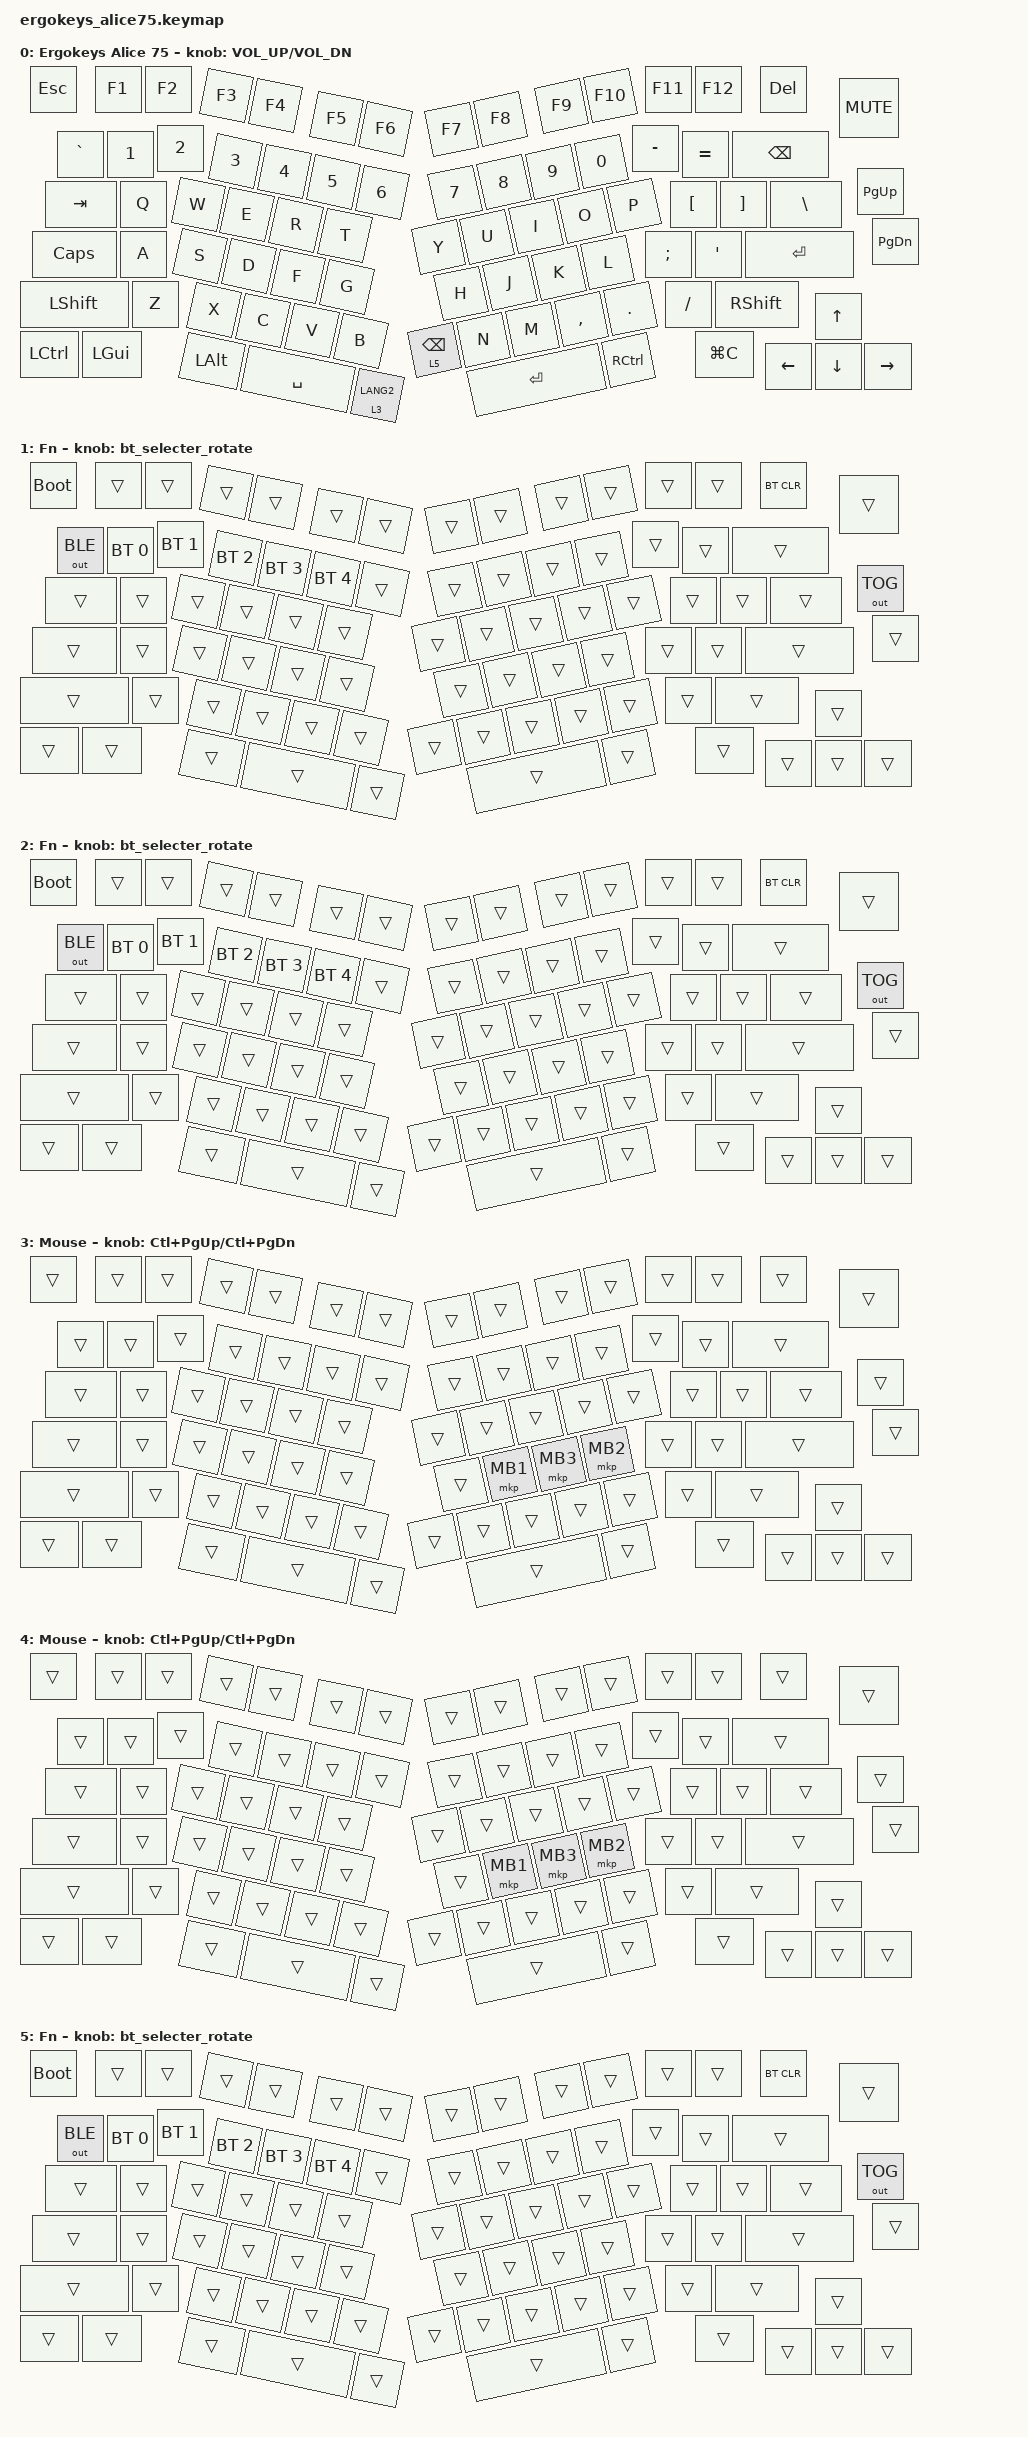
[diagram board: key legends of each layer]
/*
 * Copyright (c) 2020 The ZMK Contributors
 *
 * SPDX-License-Identifier: MIT
 */

#include <behaviors.dtsi>
#include <dt-bindings/zmk/bt.h>
#include <dt-bindings/zmk/keys.h>
#include <dt-bindings/zmk/outputs.h>
#include <dt-bindings/zmk/pointing.h>

/ {
    behaviors {
        bt_selecter_rotate: sensor_rotate_bt {
            compatible = "zmk,behavior-sensor-rotate";
            #sensor-binding-cells = <0>;
            bindings = <&bt BT_NXT>, <&bt BT_PRV>;
        };
    };

    keymap {
        compatible = "zmk,keymap";

        Alice75 {
            // --------- Default QWERTY Layout ---------
            // Layer 0 BASE
            // -------------------------------------------------------------------------------------------------
            // | ESC |  1  |  2  |  3  |  4  |  5  |  6  |  7  |  8  |  9  |  0  |  -  |  =  |    BSPC   | HME |
            // -------------------------------------------------------------------------------------------------
            // | TAB    |  Q  |  W  |  E  |  R  |  T  |  Y  |  U  |  I  |  O  |  P  |  [  |  ]   |   \   | PGU |
            // -------------------------------------------------------------------------------------------------
            // | CAPS    |  A  |  S  |  D  |  F  |  G  |  H  |  J  |  K  |  L  |  ;  |  '   |    ENTER   | PGD |
            // -------------------------------------------------------------------------------------------------
            // | LSHIFT     |  Z  |  X  |  C  |  V  |  B  |  N  |  M  |  ,  |  .  |  /  |    RSHFT |  ↑  | END |
            // -------------------------------------------------------------------------------------------------
            // | LCTL | LGUI | LALT |                     SPACE         | RALT | RGUI | RCTL |  <- |  ↓  | ->  |
            // -------------------------------------------------------------------------------------------------

            bindings = <
&kp ESC  &kp F1  &kp F2  &kp F3  &kp F4  &kp F5  &kp F6  &kp F7  &kp F8  &kp F9  &kp F10  &kp F11  &kp F12  &kp DEL  &kp C_MUTE  &kp GRAVE  &kp N1  &kp N2  &kp N3  &kp N4  &kp N5  &kp N6  &kp N7  &kp N8  &kp N9  &kp N0  &kp MINUS  &kp EQUAL  &kp BSPC  &kp TAB  &kp Q  &kp W  &kp E  &kp R  &kp T  &kp Y  &kp U  &kp I  &kp O  &kp P  &kp LBKT  &kp RBKT  &kp BSLH  &kp PG_UP  &kp CLCK  &kp A  &kp S  &kp D  &kp F  &kp G  &kp H  &kp J  &kp K  &kp L  &kp SEMI  &kp SQT  &kp ENTER  &kp PG_DN  &kp LSHFT  &kp Z  &kp X  &kp C  &kp V  &kp B  &lt 5 BACKSPACE  &kp N  &kp M  &kp COMMA  &kp DOT  &kp FSLH  &kp RSHFT  &kp UP  &kp LCTRL  &kp LGUI  &kp LALT  &kp SPACE  &lt 3 LANG2  &kp ENTER  &kp RCTRL  &kp LG(C)  &kp LEFT  &kp DOWN  &kp RIGHT
            >;

            sensor-bindings = <&inc_dec_kp C_VOL_UP C_VOL_DN>;
            label = "Ergokeys Alice 75";
        };

        Lower {
            bindings = <
&bootloader  &trans  &trans  &trans  &trans  &trans  &trans  &trans  &trans  &trans  &trans  &trans  &trans  &bt BT_CLR  &trans  &out OUT_BLE  &bt BT_SEL 0  &bt BT_SEL 1  &bt BT_SEL 2  &bt BT_SEL 3  &bt BT_SEL 4  &trans  &trans  &trans  &trans  &trans  &trans  &trans  &trans  &trans  &trans  &trans  &trans  &trans  &trans  &trans  &trans  &trans  &trans  &trans  &trans  &trans  &trans  &out OUT_TOG  &trans  &trans  &trans  &trans  &trans  &trans  &trans  &trans  &trans  &trans  &trans  &trans  &trans  &trans  &trans  &trans  &trans  &trans  &trans  &trans  &trans  &trans  &trans  &trans  &trans  &trans  &trans  &trans  &trans  &trans  &trans  &trans  &trans  &trans  &trans  &trans  &trans  &trans  &trans
            >;

            sensor-bindings = <&bt_selecter_rotate>;
            label = "Fn";
        };

        Upper {
            bindings = <
&bootloader  &trans  &trans  &trans  &trans  &trans  &trans  &trans  &trans  &trans  &trans  &trans  &trans  &bt BT_CLR  &trans  &out OUT_BLE  &bt BT_SEL 0  &bt BT_SEL 1  &bt BT_SEL 2  &bt BT_SEL 3  &bt BT_SEL 4  &trans  &trans  &trans  &trans  &trans  &trans  &trans  &trans  &trans  &trans  &trans  &trans  &trans  &trans  &trans  &trans  &trans  &trans  &trans  &trans  &trans  &trans  &out OUT_TOG  &trans  &trans  &trans  &trans  &trans  &trans  &trans  &trans  &trans  &trans  &trans  &trans  &trans  &trans  &trans  &trans  &trans  &trans  &trans  &trans  &trans  &trans  &trans  &trans  &trans  &trans  &trans  &trans  &trans  &trans  &trans  &trans  &trans  &trans  &trans  &trans  &trans  &trans  &trans
            >;

            sensor-bindings = <&bt_selecter_rotate>;
            label = "Fn";
        };

        Mouse {
            bindings = <
&trans  &trans  &trans  &trans  &trans  &trans  &trans  &trans  &trans  &trans  &trans  &trans  &trans  &trans  &trans  &trans  &trans  &trans  &trans  &trans  &trans  &trans  &trans  &trans  &trans  &trans  &trans  &trans  &trans  &trans  &trans  &trans  &trans  &trans  &trans  &trans  &trans  &trans  &trans  &trans  &trans  &trans  &trans  &trans  &trans  &trans  &trans  &trans  &trans  &trans  &trans  &mkp MB1  &mkp MB3  &mkp MB2  &trans  &trans  &trans  &trans  &trans  &trans  &trans  &trans  &trans  &trans  &trans  &trans  &trans  &trans  &trans  &trans  &trans  &trans  &trans  &trans  &trans  &trans  &trans  &trans  &trans  &trans  &trans  &trans  &trans
            >;

            sensor-bindings = <&inc_dec_kp LC(PG_UP) LC(PG_DN)>;
            label = "Mouse";
        };

        Snip {
            bindings = <
&trans  &trans  &trans  &trans  &trans  &trans  &trans  &trans  &trans  &trans  &trans  &trans  &trans  &trans  &trans  &trans  &trans  &trans  &trans  &trans  &trans  &trans  &trans  &trans  &trans  &trans  &trans  &trans  &trans  &trans  &trans  &trans  &trans  &trans  &trans  &trans  &trans  &trans  &trans  &trans  &trans  &trans  &trans  &trans  &trans  &trans  &trans  &trans  &trans  &trans  &trans  &mkp MB1  &mkp MB3  &mkp MB2  &trans  &trans  &trans  &trans  &trans  &trans  &trans  &trans  &trans  &trans  &trans  &trans  &trans  &trans  &trans  &trans  &trans  &trans  &trans  &trans  &trans  &trans  &trans  &trans  &trans  &trans  &trans  &trans  &trans
            >;

            sensor-bindings = <&inc_dec_kp LC(PG_UP) LC(PG_DN)>;
            label = "Mouse";
        };

        Fn {
            bindings = <
&bootloader  &trans  &trans  &trans  &trans  &trans  &trans  &trans  &trans  &trans  &trans  &trans  &trans  &bt BT_CLR  &trans  &out OUT_BLE  &bt BT_SEL 0  &bt BT_SEL 1  &bt BT_SEL 2  &bt BT_SEL 3  &bt BT_SEL 4  &trans  &trans  &trans  &trans  &trans  &trans  &trans  &trans  &trans  &trans  &trans  &trans  &trans  &trans  &trans  &trans  &trans  &trans  &trans  &trans  &trans  &trans  &out OUT_TOG  &trans  &trans  &trans  &trans  &trans  &trans  &trans  &trans  &trans  &trans  &trans  &trans  &trans  &trans  &trans  &trans  &trans  &trans  &trans  &trans  &trans  &trans  &trans  &trans  &trans  &trans  &trans  &trans  &trans  &trans  &trans  &trans  &trans  &trans  &trans  &trans  &trans  &trans  &trans
            >;

            sensor-bindings = <&bt_selecter_rotate>;
            label = "Fn";
        };
    };
};
